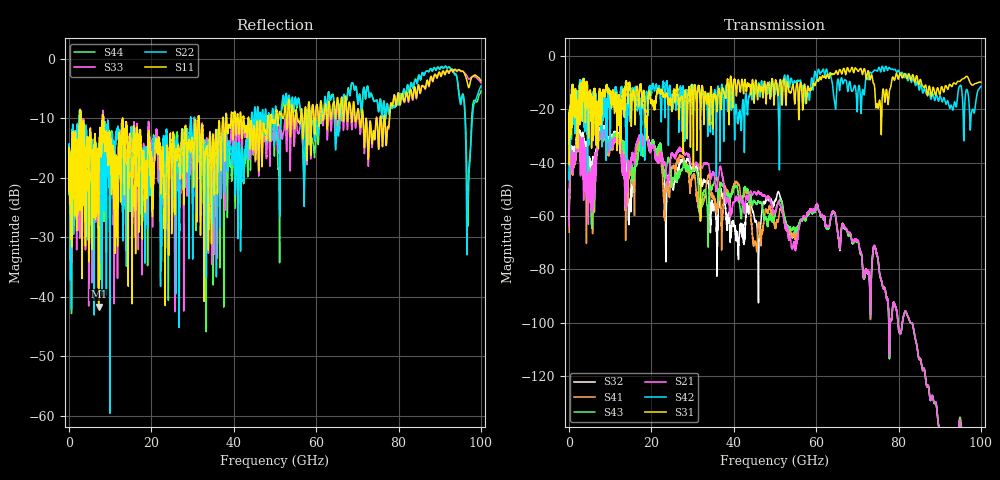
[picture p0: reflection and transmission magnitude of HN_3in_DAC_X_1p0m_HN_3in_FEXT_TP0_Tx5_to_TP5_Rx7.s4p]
# GHz S RI R 45
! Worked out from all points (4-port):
!   4000 points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, 25 MHz to 100 GHz, reference 45 ohm
!   strongest paths, dB at 25 MHz, 25.02 GHz, 50.02 GHz, 75.03 GHz, 100 GHz:
!     S31: -21.6, -19.9, -9.9, -19.6, -9.9
!     S42: -21.7, -14.4, -14.5, -5.1, -11.5
!     S21: -63.9, -36.6, -57.9, -76.3, -190.0
!     S43: -61.1, -49.2, -59.2, -76.2, -198.0
!     S41: -66.1, -41.9, -63.7, -76.2, -195.6
!     S32: -60.7, -47.1, -54.1, -76.3, -192.2
!   lowest |S11| = -41.6 dB at 7.2 GHz (marker M1), VSWR 1.02, Z = 45.6 + j0.432 ohm
!   |S11| at or under -10 dB: 2.901 GHz to 8.13 GHz (5.229 GHz wide, 94.8 % of centre); 13.03 GHz to 31.4 GHz (18.37 GHz wide, 82.7 % of centre); 31.6 GHz to 37.34 GHz (5.74 GHz wide, 16.7 % of centre)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
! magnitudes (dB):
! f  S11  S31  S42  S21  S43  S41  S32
! 25 MHz  -15.6  -21.6  -21.7  -63.9  -61.1  -66.1  -60.7
! 7.2 GHz  -41.6  -26.1  -19.0  -29.8  -30.1  -30.7  -29.2
! 40.9 GHz  -9.2  -10.4  -25.0  -53.6  -49.8  -47.9  -69.0
! 45.25 GHz  -16.8  -9.5  -14.1  -51.4  -55.0  -69.4  -62.2
! 54.5 GHz  -9.8  -11.6  -10.6  -70.3  -64.2  -66.2  -67.1
! 60.23 GHz  -7.7  -9.1  -8.5  -55.5  -56.1  -55.9  -55.7
! 100 GHz  -3.6  -9.9  -11.5  -190.0  -198.0  -195.6  -192.2
